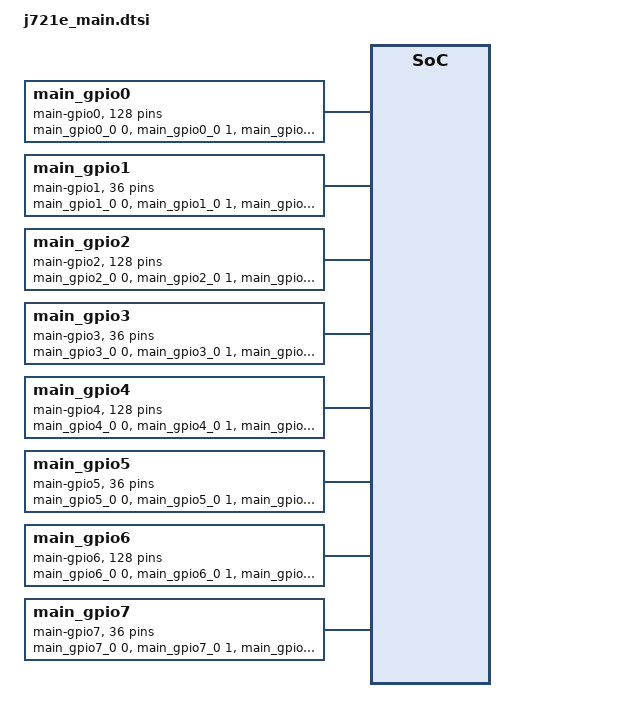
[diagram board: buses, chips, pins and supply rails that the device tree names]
/* Copyright (C) 2026 BeagleBoard.org Foundation
 *
 * SPDX-License-Identifier: Apache-2.0
 */

/ {
	main_gpio0: main-gpio0 {
		#gpio-cells = <2>;
		gpio-map = <0 0 &main_gpio0_0 0 0>, <1 0 &main_gpio0_0 1 0>,
			   <2 0 &main_gpio0_0 2 0>, <3 0 &main_gpio0_0 3 0>,
			   <4 0 &main_gpio0_0 4 0>, <5 0 &main_gpio0_0 5 0>,
			   <6 0 &main_gpio0_0 6 0>, <7 0 &main_gpio0_0 7 0>,
			   <8 0 &main_gpio0_0 8 0>, <9 0 &main_gpio0_0 9 0>,
			   <10 0 &main_gpio0_0 10 0>, <11 0 &main_gpio0_0 11 0>,
			   <12 0 &main_gpio0_0 12 0>, <13 0 &main_gpio0_0 13 0>,
			   <14 0 &main_gpio0_0 14 0>, <15 0 &main_gpio0_0 15 0>,
			   <16 0 &main_gpio0_0 16 0>, <17 0 &main_gpio0_0 17 0>,
			   <18 0 &main_gpio0_0 18 0>, <19 0 &main_gpio0_0 19 0>,
			   <20 0 &main_gpio0_0 20 0>, <21 0 &main_gpio0_0 21 0>,
			   <22 0 &main_gpio0_0 22 0>, <23 0 &main_gpio0_0 23 0>,
			   <24 0 &main_gpio0_0 24 0>, <25 0 &main_gpio0_0 25 0>,
			   <26 0 &main_gpio0_0 26 0>, <27 0 &main_gpio0_0 27 0>,
			   <28 0 &main_gpio0_0 28 0>, <29 0 &main_gpio0_0 29 0>,
			   <30 0 &main_gpio0_0 30 0>, <31 0 &main_gpio0_0 31 0>,
			   <32 0 &main_gpio0_1 0 0>, <33 0 &main_gpio0_1 1 0>,
			   <34 0 &main_gpio0_1 2 0>, <35 0 &main_gpio0_1 3 0>,
			   <36 0 &main_gpio0_1 4 0>, <37 0 &main_gpio0_1 5 0>,
			   <38 0 &main_gpio0_1 6 0>, <39 0 &main_gpio0_1 7 0>,
			   <40 0 &main_gpio0_1 8 0>, <41 0 &main_gpio0_1 9 0>,
			   <42 0 &main_gpio0_1 10 0>, <43 0 &main_gpio0_1 11 0>,
			   <44 0 &main_gpio0_1 12 0>, <45 0 &main_gpio0_1 13 0>,
			   <46 0 &main_gpio0_1 14 0>, <47 0 &main_gpio0_1 15 0>,
			   <48 0 &main_gpio0_1 16 0>, <49 0 &main_gpio0_1 17 0>,
			   <50 0 &main_gpio0_1 18 0>, <51 0 &main_gpio0_1 19 0>,
			   <52 0 &main_gpio0_1 20 0>, <53 0 &main_gpio0_1 21 0>,
			   <54 0 &main_gpio0_1 22 0>, <55 0 &main_gpio0_1 23 0>,
			   <56 0 &main_gpio0_1 24 0>, <57 0 &main_gpio0_1 25 0>,
			   <58 0 &main_gpio0_1 26 0>, <59 0 &main_gpio0_1 27 0>,
			   <60 0 &main_gpio0_1 28 0>, <61 0 &main_gpio0_1 29 0>,
			   <62 0 &main_gpio0_1 30 0>, <63 0 &main_gpio0_1 31 0>,
			   <64 0 &main_gpio0_2 0 0>, <65 0 &main_gpio0_2 1 0>,
			   <66 0 &main_gpio0_2 2 0>, <67 0 &main_gpio0_2 3 0>,
			   <68 0 &main_gpio0_2 4 0>, <69 0 &main_gpio0_2 5 0>,
			   <70 0 &main_gpio0_2 6 0>, <71 0 &main_gpio0_2 7 0>,
			   <72 0 &main_gpio0_2 8 0>, <73 0 &main_gpio0_2 9 0>,
			   <74 0 &main_gpio0_2 10 0>, <75 0 &main_gpio0_2 11 0>,
			   <76 0 &main_gpio0_2 12 0>, <77 0 &main_gpio0_2 13 0>,
			   <78 0 &main_gpio0_2 14 0>, <79 0 &main_gpio0_2 15 0>,
			   <80 0 &main_gpio0_2 16 0>, <81 0 &main_gpio0_2 17 0>,
			   <82 0 &main_gpio0_2 18 0>, <83 0 &main_gpio0_2 17 0>,
			   <84 0 &main_gpio0_2 20 0>, <85 0 &main_gpio0_2 21 0>,
			   <86 0 &main_gpio0_2 22 0>, <87 0 &main_gpio0_2 23 0>,
			   <88 0 &main_gpio0_2 24 0>, <89 0 &main_gpio0_2 25 0>,
			   <90 0 &main_gpio0_2 26 0>, <91 0 &main_gpio0_2 27 0>,
			   <90 0 &main_gpio0_2 28 0>, <91 0 &main_gpio0_2 29 0>,
			   <90 0 &main_gpio0_2 30 0>, <91 0 &main_gpio0_2 31 0>,
			   <64 0 &main_gpio0_3 0 0>, <65 0 &main_gpio0_3 1 0>,
			   <66 0 &main_gpio0_3 2 0>, <67 0 &main_gpio0_3 3 0>,
			   <68 0 &main_gpio0_3 4 0>, <69 0 &main_gpio0_3 5 0>,
			   <70 0 &main_gpio0_3 6 0>, <71 0 &main_gpio0_3 7 0>,
			   <72 0 &main_gpio0_3 8 0>, <73 0 &main_gpio0_3 9 0>,
			   <74 0 &main_gpio0_3 10 0>, <75 0 &main_gpio0_3 11 0>,
			   <76 0 &main_gpio0_3 12 0>, <77 0 &main_gpio0_3 13 0>,
			   <78 0 &main_gpio0_3 14 0>, <79 0 &main_gpio0_3 15 0>,
			   <80 0 &main_gpio0_3 16 0>, <81 0 &main_gpio0_3 17 0>,
			   <82 0 &main_gpio0_3 18 0>, <83 0 &main_gpio0_3 17 0>,
			   <84 0 &main_gpio0_3 20 0>, <85 0 &main_gpio0_3 21 0>,
			   <86 0 &main_gpio0_3 22 0>, <87 0 &main_gpio0_3 23 0>,
			   <88 0 &main_gpio0_3 24 0>, <89 0 &main_gpio0_3 25 0>,
			   <90 0 &main_gpio0_3 26 0>, <91 0 &main_gpio0_3 27 0>,
			   <90 0 &main_gpio0_3 28 0>, <91 0 &main_gpio0_3 29 0>,
			   <90 0 &main_gpio0_3 30 0>, <91 0 &main_gpio0_3 31 0>;
		gpio-map-mask = <0xffff 0x0>;
		gpio-map-pass-thru = <0x0 0x1>;
	};

	main_gpio0_0: gpio@600010 {
		compatible = "ti,davinci-gpio";
		reg = <0x00600010 0x28>;
		gpio-controller;
		#gpio-cells = <2>;
		ngpios = <32>;
		status = "disabled";
	};

	main_gpio0_1: gpio@600038 {
		compatible = "ti,davinci-gpio";
		reg = <0x00600038 0x28>;
		gpio-controller;
		#gpio-cells = <2>;
		ngpios = <32>;
		status = "disabled";
	};

	main_gpio0_2: gpio@600060 {
		compatible = "ti,davinci-gpio";
		reg = <0x00600060 0x28>;
		gpio-controller;
		#gpio-cells = <2>;
		ngpios = <32>;
		status = "disabled";
	};

	main_gpio0_3: gpio@600088 {
		compatible = "ti,davinci-gpio";
		reg = <0x00600088 0x28>;
		gpio-controller;
		#gpio-cells = <2>;
		ngpios = <32>;
		status = "disabled";
	};

	main_gpio1: main-gpio1 {
		#gpio-cells = <2>;
		gpio-map = <0 0 &main_gpio1_0 0 0>, <1 0 &main_gpio1_0 1 0>,
			   <2 0 &main_gpio1_0 2 0>, <3 0 &main_gpio1_0 3 0>,
			   <4 0 &main_gpio1_0 4 0>, <5 0 &main_gpio1_0 5 0>,
			   <6 0 &main_gpio1_0 6 0>, <7 0 &main_gpio1_0 7 0>,
			   <8 0 &main_gpio1_0 8 0>, <9 0 &main_gpio1_0 9 0>,
			   <10 0 &main_gpio1_0 10 0>, <11 0 &main_gpio1_0 11 0>,
			   <12 0 &main_gpio1_0 12 0>, <13 0 &main_gpio1_0 13 0>,
			   <14 0 &main_gpio1_0 14 0>, <15 0 &main_gpio1_0 15 0>,
			   <16 0 &main_gpio1_0 16 0>, <17 0 &main_gpio1_0 17 0>,
			   <18 0 &main_gpio1_0 18 0>, <19 0 &main_gpio1_0 19 0>,
			   <20 0 &main_gpio1_0 20 0>, <21 0 &main_gpio1_0 21 0>,
			   <22 0 &main_gpio1_0 22 0>, <23 0 &main_gpio1_0 23 0>,
			   <24 0 &main_gpio1_0 24 0>, <25 0 &main_gpio1_0 25 0>,
			   <26 0 &main_gpio1_0 26 0>, <27 0 &main_gpio1_0 27 0>,
			   <28 0 &main_gpio1_0 28 0>, <29 0 &main_gpio1_0 29 0>,
			   <30 0 &main_gpio1_0 30 0>, <31 0 &main_gpio1_0 31 0>,
			   <32 0 &main_gpio1_1 0 0>, <33 0 &main_gpio1_1 1 0>,
			   <34 0 &main_gpio1_1 2 0>, <35 0 &main_gpio1_1 3 0>;
		gpio-map-mask = <0xffff 0x0>;
		gpio-map-pass-thru = <0x0 0x1>;
	};

	main_gpio1_0: gpio@601010 {
		compatible = "ti,davinci-gpio";
		reg = <0x00601010 0x28>;
		gpio-controller;
		#gpio-cells = <2>;
		ngpios = <32>;
		status = "disabled";
	};

	main_gpio1_1: gpio@601038 {
		compatible = "ti,davinci-gpio";
		reg = <0x00601038 0x28>;
		gpio-controller;
		#gpio-cells = <2>;
		ngpios = <4>;
		status = "disabled";
	};

	main_gpio2: main-gpio2 {
		#gpio-cells = <2>;
		gpio-map = <0 0 &main_gpio2_0 0 0>, <1 0 &main_gpio2_0 1 0>,
			   <2 0 &main_gpio2_0 2 0>, <3 0 &main_gpio2_0 3 0>,
			   <4 0 &main_gpio2_0 4 0>, <5 0 &main_gpio2_0 5 0>,
			   <6 0 &main_gpio2_0 6 0>, <7 0 &main_gpio2_0 7 0>,
			   <8 0 &main_gpio2_0 8 0>, <9 0 &main_gpio2_0 9 0>,
			   <10 0 &main_gpio2_0 10 0>, <11 0 &main_gpio2_0 11 0>,
			   <12 0 &main_gpio2_0 12 0>, <13 0 &main_gpio2_0 13 0>,
			   <14 0 &main_gpio2_0 14 0>, <15 0 &main_gpio2_0 15 0>,
			   <16 0 &main_gpio2_0 16 0>, <17 0 &main_gpio2_0 17 0>,
			   <18 0 &main_gpio2_0 18 0>, <19 0 &main_gpio2_0 19 0>,
			   <20 0 &main_gpio2_0 20 0>, <21 0 &main_gpio2_0 21 0>,
			   <22 0 &main_gpio2_0 22 0>, <23 0 &main_gpio2_0 23 0>,
			   <24 0 &main_gpio2_0 24 0>, <25 0 &main_gpio2_0 25 0>,
			   <26 0 &main_gpio2_0 26 0>, <27 0 &main_gpio2_0 27 0>,
			   <28 0 &main_gpio2_0 28 0>, <29 0 &main_gpio2_0 29 0>,
			   <30 0 &main_gpio2_0 30 0>, <31 0 &main_gpio2_0 31 0>,
			   <32 0 &main_gpio2_1 0 0>, <33 0 &main_gpio2_1 1 0>,
			   <34 0 &main_gpio2_1 2 0>, <35 0 &main_gpio2_1 3 0>,
			   <36 0 &main_gpio2_1 4 0>, <37 0 &main_gpio2_1 5 0>,
			   <38 0 &main_gpio2_1 6 0>, <39 0 &main_gpio2_1 7 0>,
			   <40 0 &main_gpio2_1 8 0>, <41 0 &main_gpio2_1 9 0>,
			   <42 0 &main_gpio2_1 10 0>, <43 0 &main_gpio2_1 11 0>,
			   <44 0 &main_gpio2_1 12 0>, <45 0 &main_gpio2_1 13 0>,
			   <46 0 &main_gpio2_1 14 0>, <47 0 &main_gpio2_1 15 0>,
			   <48 0 &main_gpio2_1 16 0>, <49 0 &main_gpio2_1 17 0>,
			   <50 0 &main_gpio2_1 18 0>, <51 0 &main_gpio2_1 19 0>,
			   <52 0 &main_gpio2_1 20 0>, <53 0 &main_gpio2_1 21 0>,
			   <54 0 &main_gpio2_1 22 0>, <55 0 &main_gpio2_1 23 0>,
			   <56 0 &main_gpio2_1 24 0>, <57 0 &main_gpio2_1 25 0>,
			   <58 0 &main_gpio2_1 26 0>, <59 0 &main_gpio2_1 27 0>,
			   <60 0 &main_gpio2_1 28 0>, <61 0 &main_gpio2_1 29 0>,
			   <62 0 &main_gpio2_1 30 0>, <63 0 &main_gpio2_1 31 0>,
			   <64 0 &main_gpio2_2 0 0>, <65 0 &main_gpio2_2 1 0>,
			   <66 0 &main_gpio2_2 2 0>, <67 0 &main_gpio2_2 3 0>,
			   <68 0 &main_gpio2_2 4 0>, <69 0 &main_gpio2_2 5 0>,
			   <70 0 &main_gpio2_2 6 0>, <71 0 &main_gpio2_2 7 0>,
			   <72 0 &main_gpio2_2 8 0>, <73 0 &main_gpio2_2 9 0>,
			   <74 0 &main_gpio2_2 10 0>, <75 0 &main_gpio2_2 11 0>,
			   <76 0 &main_gpio2_2 12 0>, <77 0 &main_gpio2_2 13 0>,
			   <78 0 &main_gpio2_2 14 0>, <79 0 &main_gpio2_2 15 0>,
			   <80 0 &main_gpio2_2 16 0>, <81 0 &main_gpio2_2 17 0>,
			   <82 0 &main_gpio2_2 18 0>, <83 0 &main_gpio2_2 17 0>,
			   <84 0 &main_gpio2_2 20 0>, <85 0 &main_gpio2_2 21 0>,
			   <86 0 &main_gpio2_2 22 0>, <87 0 &main_gpio2_2 23 0>,
			   <88 0 &main_gpio2_2 24 0>, <89 0 &main_gpio2_2 25 0>,
			   <90 0 &main_gpio2_2 26 0>, <91 0 &main_gpio2_2 27 0>,
			   <90 0 &main_gpio2_2 28 0>, <91 0 &main_gpio2_2 29 0>,
			   <90 0 &main_gpio2_2 30 0>, <91 0 &main_gpio2_2 31 0>,
			   <64 0 &main_gpio2_3 0 0>, <65 0 &main_gpio2_3 1 0>,
			   <66 0 &main_gpio2_3 2 0>, <67 0 &main_gpio2_3 3 0>,
			   <68 0 &main_gpio2_3 4 0>, <69 0 &main_gpio2_3 5 0>,
			   <70 0 &main_gpio2_3 6 0>, <71 0 &main_gpio2_3 7 0>,
			   <72 0 &main_gpio2_3 8 0>, <73 0 &main_gpio2_3 9 0>,
			   <74 0 &main_gpio2_3 10 0>, <75 0 &main_gpio2_3 11 0>,
			   <76 0 &main_gpio2_3 12 0>, <77 0 &main_gpio2_3 13 0>,
			   <78 0 &main_gpio2_3 14 0>, <79 0 &main_gpio2_3 15 0>,
			   <80 0 &main_gpio2_3 16 0>, <81 0 &main_gpio2_3 17 0>,
			   <82 0 &main_gpio2_3 18 0>, <83 0 &main_gpio2_3 17 0>,
			   <84 0 &main_gpio2_3 20 0>, <85 0 &main_gpio2_3 21 0>,
			   <86 0 &main_gpio2_3 22 0>, <87 0 &main_gpio2_3 23 0>,
			   <88 0 &main_gpio2_3 24 0>, <89 0 &main_gpio2_3 25 0>,
			   <90 0 &main_gpio2_3 26 0>, <91 0 &main_gpio2_3 27 0>,
			   <90 0 &main_gpio2_3 28 0>, <91 0 &main_gpio2_3 29 0>,
			   <90 0 &main_gpio2_3 30 0>, <91 0 &main_gpio2_3 31 0>;
		gpio-map-mask = <0xffff 0x0>;
		gpio-map-pass-thru = <0x0 0x1>;
	};

	main_gpio2_0: gpio@610010 {
		compatible = "ti,davinci-gpio";
		reg = <0x00610010 0x28>;
		gpio-controller;
		#gpio-cells = <2>;
		ngpios = <32>;
		status = "disabled";
	};

	main_gpio2_1: gpio@610038 {
		compatible = "ti,davinci-gpio";
		reg = <0x00610038 0x28>;
		gpio-controller;
		#gpio-cells = <2>;
		ngpios = <32>;
		status = "disabled";
	};

	main_gpio2_2: gpio@610060 {
		compatible = "ti,davinci-gpio";
		reg = <0x00610060 0x28>;
		gpio-controller;
		#gpio-cells = <2>;
		ngpios = <32>;
		status = "disabled";
	};

	main_gpio2_3: gpio@610088 {
		compatible = "ti,davinci-gpio";
		reg = <0x00610088 0x28>;
		gpio-controller;
		#gpio-cells = <2>;
		ngpios = <32>;
		status = "disabled";
	};

	main_gpio3: main-gpio3 {
		#gpio-cells = <2>;
		gpio-map = <0 0 &main_gpio3_0 0 0>, <1 0 &main_gpio3_0 1 0>,
			   <2 0 &main_gpio3_0 2 0>, <3 0 &main_gpio3_0 3 0>,
			   <4 0 &main_gpio3_0 4 0>, <5 0 &main_gpio3_0 5 0>,
			   <6 0 &main_gpio3_0 6 0>, <7 0 &main_gpio3_0 7 0>,
			   <8 0 &main_gpio3_0 8 0>, <9 0 &main_gpio3_0 9 0>,
			   <10 0 &main_gpio3_0 10 0>, <11 0 &main_gpio3_0 11 0>,
			   <12 0 &main_gpio3_0 12 0>, <13 0 &main_gpio3_0 13 0>,
			   <14 0 &main_gpio3_0 14 0>, <15 0 &main_gpio3_0 15 0>,
			   <16 0 &main_gpio3_0 16 0>, <17 0 &main_gpio3_0 17 0>,
			   <18 0 &main_gpio3_0 18 0>, <19 0 &main_gpio3_0 19 0>,
			   <20 0 &main_gpio3_0 20 0>, <21 0 &main_gpio3_0 21 0>,
			   <22 0 &main_gpio3_0 22 0>, <23 0 &main_gpio3_0 23 0>,
			   <24 0 &main_gpio3_0 24 0>, <25 0 &main_gpio3_0 25 0>,
			   <26 0 &main_gpio3_0 26 0>, <27 0 &main_gpio3_0 27 0>,
			   <28 0 &main_gpio3_0 28 0>, <29 0 &main_gpio3_0 29 0>,
			   <30 0 &main_gpio3_0 30 0>, <31 0 &main_gpio3_0 31 0>,
			   <32 0 &main_gpio3_1 0 0>, <33 0 &main_gpio3_1 1 0>,
			   <34 0 &main_gpio3_1 2 0>, <35 0 &main_gpio3_1 3 0>;
		gpio-map-mask = <0xffff 0x0>;
		gpio-map-pass-thru = <0x0 0x1>;
	};

	main_gpio3_0: gpio@611010 {
		compatible = "ti,davinci-gpio";
		reg = <0x00611010 0x28>;
		gpio-controller;
		#gpio-cells = <2>;
		ngpios = <32>;
		status = "disabled";
	};

	main_gpio3_1: gpio@611038 {
		compatible = "ti,davinci-gpio";
		reg = <0x00611038 0x28>;
		gpio-controller;
		#gpio-cells = <2>;
		ngpios = <4>;
		status = "disabled";
	};

	main_gpio4: main-gpio4 {
		#gpio-cells = <2>;
		gpio-map = <0 0 &main_gpio4_0 0 0>, <1 0 &main_gpio4_0 1 0>,
			   <2 0 &main_gpio4_0 2 0>, <3 0 &main_gpio4_0 3 0>,
			   <4 0 &main_gpio4_0 4 0>, <5 0 &main_gpio4_0 5 0>,
			   <6 0 &main_gpio4_0 6 0>, <7 0 &main_gpio4_0 7 0>,
			   <8 0 &main_gpio4_0 8 0>, <9 0 &main_gpio4_0 9 0>,
			   <10 0 &main_gpio4_0 10 0>, <11 0 &main_gpio4_0 11 0>,
			   <12 0 &main_gpio4_0 12 0>, <13 0 &main_gpio4_0 13 0>,
			   <14 0 &main_gpio4_0 14 0>, <15 0 &main_gpio4_0 15 0>,
			   <16 0 &main_gpio4_0 16 0>, <17 0 &main_gpio4_0 17 0>,
			   <18 0 &main_gpio4_0 18 0>, <19 0 &main_gpio4_0 19 0>,
			   <20 0 &main_gpio4_0 20 0>, <21 0 &main_gpio4_0 21 0>,
			   <22 0 &main_gpio4_0 22 0>, <23 0 &main_gpio4_0 23 0>,
			   <24 0 &main_gpio4_0 24 0>, <25 0 &main_gpio4_0 25 0>,
			   <26 0 &main_gpio4_0 26 0>, <27 0 &main_gpio4_0 27 0>,
			   <28 0 &main_gpio4_0 28 0>, <29 0 &main_gpio4_0 29 0>,
			   <30 0 &main_gpio4_0 30 0>, <31 0 &main_gpio4_0 31 0>,
			   <32 0 &main_gpio4_1 0 0>, <33 0 &main_gpio4_1 1 0>,
			   <34 0 &main_gpio4_1 2 0>, <35 0 &main_gpio4_1 3 0>,
			   <36 0 &main_gpio4_1 4 0>, <37 0 &main_gpio4_1 5 0>,
			   <38 0 &main_gpio4_1 6 0>, <39 0 &main_gpio4_1 7 0>,
			   <40 0 &main_gpio4_1 8 0>, <41 0 &main_gpio4_1 9 0>,
			   <42 0 &main_gpio4_1 10 0>, <43 0 &main_gpio4_1 11 0>,
			   <44 0 &main_gpio4_1 12 0>, <45 0 &main_gpio4_1 13 0>,
			   <46 0 &main_gpio4_1 14 0>, <47 0 &main_gpio4_1 15 0>,
			   <48 0 &main_gpio4_1 16 0>, <49 0 &main_gpio4_1 17 0>,
			   <50 0 &main_gpio4_1 18 0>, <51 0 &main_gpio4_1 19 0>,
			   <52 0 &main_gpio4_1 20 0>, <53 0 &main_gpio4_1 21 0>,
			   <54 0 &main_gpio4_1 22 0>, <55 0 &main_gpio4_1 23 0>,
			   <56 0 &main_gpio4_1 24 0>, <57 0 &main_gpio4_1 25 0>,
			   <58 0 &main_gpio4_1 26 0>, <59 0 &main_gpio4_1 27 0>,
			   <60 0 &main_gpio4_1 28 0>, <61 0 &main_gpio4_1 29 0>,
			   <62 0 &main_gpio4_1 30 0>, <63 0 &main_gpio4_1 31 0>,
			   <64 0 &main_gpio4_2 0 0>, <65 0 &main_gpio4_2 1 0>,
			   <66 0 &main_gpio4_2 2 0>, <67 0 &main_gpio4_2 3 0>,
			   <68 0 &main_gpio4_2 4 0>, <69 0 &main_gpio4_2 5 0>,
			   <70 0 &main_gpio4_2 6 0>, <71 0 &main_gpio4_2 7 0>,
			   <72 0 &main_gpio4_2 8 0>, <73 0 &main_gpio4_2 9 0>,
			   <74 0 &main_gpio4_2 10 0>, <75 0 &main_gpio4_2 11 0>,
			   <76 0 &main_gpio4_2 12 0>, <77 0 &main_gpio4_2 13 0>,
			   <78 0 &main_gpio4_2 14 0>, <79 0 &main_gpio4_2 15 0>,
			   <80 0 &main_gpio4_2 16 0>, <81 0 &main_gpio4_2 17 0>,
			   <82 0 &main_gpio4_2 18 0>, <83 0 &main_gpio4_2 17 0>,
			   <84 0 &main_gpio4_2 20 0>, <85 0 &main_gpio4_2 21 0>,
			   <86 0 &main_gpio4_2 22 0>, <87 0 &main_gpio4_2 23 0>,
			   <88 0 &main_gpio4_2 24 0>, <89 0 &main_gpio4_2 25 0>,
			   <90 0 &main_gpio4_2 26 0>, <91 0 &main_gpio4_2 27 0>,
			   <90 0 &main_gpio4_2 28 0>, <91 0 &main_gpio4_2 29 0>,
			   <90 0 &main_gpio4_2 30 0>, <91 0 &main_gpio4_2 31 0>,
			   <64 0 &main_gpio4_3 0 0>, <65 0 &main_gpio4_3 1 0>,
			   <66 0 &main_gpio4_3 2 0>, <67 0 &main_gpio4_3 3 0>,
			   <68 0 &main_gpio4_3 4 0>, <69 0 &main_gpio4_3 5 0>,
			   <70 0 &main_gpio4_3 6 0>, <71 0 &main_gpio4_3 7 0>,
			   <72 0 &main_gpio4_3 8 0>, <73 0 &main_gpio4_3 9 0>,
			   <74 0 &main_gpio4_3 10 0>, <75 0 &main_gpio4_3 11 0>,
			   <76 0 &main_gpio4_3 12 0>, <77 0 &main_gpio4_3 13 0>,
			   <78 0 &main_gpio4_3 14 0>, <79 0 &main_gpio4_3 15 0>,
			   <80 0 &main_gpio4_3 16 0>, <81 0 &main_gpio4_3 17 0>,
			   <82 0 &main_gpio4_3 18 0>, <83 0 &main_gpio4_3 17 0>,
			   <84 0 &main_gpio4_3 20 0>, <85 0 &main_gpio4_3 21 0>,
			   <86 0 &main_gpio4_3 22 0>, <87 0 &main_gpio4_3 23 0>,
			   <88 0 &main_gpio4_3 24 0>, <89 0 &main_gpio4_3 25 0>,
			   <90 0 &main_gpio4_3 26 0>, <91 0 &main_gpio4_3 27 0>,
			   <90 0 &main_gpio4_3 28 0>, <91 0 &main_gpio4_3 29 0>,
			   <90 0 &main_gpio4_3 30 0>, <91 0 &main_gpio4_3 31 0>;
		gpio-map-mask = <0xffff 0x0>;
		gpio-map-pass-thru = <0x0 0x1>;
	};

	main_gpio4_0: gpio@620010 {
		compatible = "ti,davinci-gpio";
		reg = <0x00620010 0x28>;
		gpio-controller;
		#gpio-cells = <2>;
		ngpios = <32>;
		status = "disabled";
	};

	main_gpio4_1: gpio@620038 {
		compatible = "ti,davinci-gpio";
		reg = <0x00620038 0x28>;
		gpio-controller;
		#gpio-cells = <2>;
		ngpios = <32>;
		status = "disabled";
	};

	main_gpio4_2: gpio@620060 {
		compatible = "ti,davinci-gpio";
		reg = <0x00620060 0x28>;
		gpio-controller;
		#gpio-cells = <2>;
		ngpios = <32>;
		status = "disabled";
	};

	main_gpio4_3: gpio@620088 {
		compatible = "ti,davinci-gpio";
		reg = <0x00620088 0x28>;
		gpio-controller;
		#gpio-cells = <2>;
		ngpios = <32>;
		status = "disabled";
	};

	main_gpio5: main-gpio5 {
		#gpio-cells = <2>;
		gpio-map = <0 0 &main_gpio5_0 0 0>, <1 0 &main_gpio5_0 1 0>,
			   <2 0 &main_gpio5_0 2 0>, <3 0 &main_gpio5_0 3 0>,
			   <4 0 &main_gpio5_0 4 0>, <5 0 &main_gpio5_0 5 0>,
			   <6 0 &main_gpio5_0 6 0>, <7 0 &main_gpio5_0 7 0>,
			   <8 0 &main_gpio5_0 8 0>, <9 0 &main_gpio5_0 9 0>,
			   <10 0 &main_gpio5_0 10 0>, <11 0 &main_gpio5_0 11 0>,
			   <12 0 &main_gpio5_0 12 0>, <13 0 &main_gpio5_0 13 0>,
			   <14 0 &main_gpio5_0 14 0>, <15 0 &main_gpio5_0 15 0>,
			   <16 0 &main_gpio5_0 16 0>, <17 0 &main_gpio5_0 17 0>,
			   <18 0 &main_gpio5_0 18 0>, <19 0 &main_gpio5_0 19 0>,
			   <20 0 &main_gpio5_0 20 0>, <21 0 &main_gpio5_0 21 0>,
			   <22 0 &main_gpio5_0 22 0>, <23 0 &main_gpio5_0 23 0>,
			   <24 0 &main_gpio5_0 24 0>, <25 0 &main_gpio5_0 25 0>,
			   <26 0 &main_gpio5_0 26 0>, <27 0 &main_gpio5_0 27 0>,
			   <28 0 &main_gpio5_0 28 0>, <29 0 &main_gpio5_0 29 0>,
			   <30 0 &main_gpio5_0 30 0>, <31 0 &main_gpio5_0 31 0>,
			   <32 0 &main_gpio5_1 0 0>, <33 0 &main_gpio5_1 1 0>,
			   <34 0 &main_gpio5_1 2 0>, <35 0 &main_gpio5_1 3 0>;
		gpio-map-mask = <0xffff 0x0>;
		gpio-map-pass-thru = <0x0 0x1>;
	};

	main_gpio5_0: gpio@621010 {
		compatible = "ti,davinci-gpio";
		reg = <0x00621010 0x28>;
		gpio-controller;
		#gpio-cells = <2>;
		ngpios = <32>;
		status = "disabled";
	};

	main_gpio5_1: gpio@621038 {
		compatible = "ti,davinci-gpio";
		reg = <0x00621038 0x28>;
		gpio-controller;
		#gpio-cells = <2>;
		ngpios = <4>;
		status = "disabled";
	};

	main_gpio6: main-gpio6 {
		#gpio-cells = <2>;
		gpio-map = <0 0 &main_gpio6_0 0 0>, <1 0 &main_gpio6_0 1 0>,
			   <2 0 &main_gpio6_0 2 0>, <3 0 &main_gpio6_0 3 0>,
			   <4 0 &main_gpio6_0 4 0>, <5 0 &main_gpio6_0 5 0>,
			   <6 0 &main_gpio6_0 6 0>, <7 0 &main_gpio6_0 7 0>,
			   <8 0 &main_gpio6_0 8 0>, <9 0 &main_gpio6_0 9 0>,
			   <10 0 &main_gpio6_0 10 0>, <11 0 &main_gpio6_0 11 0>,
			   <12 0 &main_gpio6_0 12 0>, <13 0 &main_gpio6_0 13 0>,
			   <14 0 &main_gpio6_0 14 0>, <15 0 &main_gpio6_0 15 0>,
			   <16 0 &main_gpio6_0 16 0>, <17 0 &main_gpio6_0 17 0>,
			   <18 0 &main_gpio6_0 18 0>, <19 0 &main_gpio6_0 19 0>,
			   <20 0 &main_gpio6_0 20 0>, <21 0 &main_gpio6_0 21 0>,
			   <22 0 &main_gpio6_0 22 0>, <23 0 &main_gpio6_0 23 0>,
			   <24 0 &main_gpio6_0 24 0>, <25 0 &main_gpio6_0 25 0>,
			   <26 0 &main_gpio6_0 26 0>, <27 0 &main_gpio6_0 27 0>,
			   <28 0 &main_gpio6_0 28 0>, <29 0 &main_gpio6_0 29 0>,
			   <30 0 &main_gpio6_0 30 0>, <31 0 &main_gpio6_0 31 0>,
			   <32 0 &main_gpio6_1 0 0>, <33 0 &main_gpio6_1 1 0>,
			   <34 0 &main_gpio6_1 2 0>, <35 0 &main_gpio6_1 3 0>,
			   <36 0 &main_gpio6_1 4 0>, <37 0 &main_gpio6_1 5 0>,
			   <38 0 &main_gpio6_1 6 0>, <39 0 &main_gpio6_1 7 0>,
			   <40 0 &main_gpio6_1 8 0>, <41 0 &main_gpio6_1 9 0>,
			   <42 0 &main_gpio6_1 10 0>, <43 0 &main_gpio6_1 11 0>,
			   <44 0 &main_gpio6_1 12 0>, <45 0 &main_gpio6_1 13 0>,
			   <46 0 &main_gpio6_1 14 0>, <47 0 &main_gpio6_1 15 0>,
			   <48 0 &main_gpio6_1 16 0>, <49 0 &main_gpio6_1 17 0>,
			   <50 0 &main_gpio6_1 18 0>, <51 0 &main_gpio6_1 19 0>,
			   <52 0 &main_gpio6_1 20 0>, <53 0 &main_gpio6_1 21 0>,
			   <54 0 &main_gpio6_1 22 0>, <55 0 &main_gpio6_1 23 0>,
			   <56 0 &main_gpio6_1 24 0>, <57 0 &main_gpio6_1 25 0>,
			   <58 0 &main_gpio6_1 26 0>, <59 0 &main_gpio6_1 27 0>,
			   <60 0 &main_gpio6_1 28 0>, <61 0 &main_gpio6_1 29 0>,
			   <62 0 &main_gpio6_1 30 0>, <63 0 &main_gpio6_1 31 0>,
			   <64 0 &main_gpio6_2 0 0>, <65 0 &main_gpio6_2 1 0>,
			   <66 0 &main_gpio6_2 2 0>, <67 0 &main_gpio6_2 3 0>,
			   <68 0 &main_gpio6_2 4 0>, <69 0 &main_gpio6_2 5 0>,
			   <70 0 &main_gpio6_2 6 0>, <71 0 &main_gpio6_2 7 0>,
			   <72 0 &main_gpio6_2 8 0>, <73 0 &main_gpio6_2 9 0>,
			   <74 0 &main_gpio6_2 10 0>, <75 0 &main_gpio6_2 11 0>,
			   <76 0 &main_gpio6_2 12 0>, <77 0 &main_gpio6_2 13 0>,
			   <78 0 &main_gpio6_2 14 0>, <79 0 &main_gpio6_2 15 0>,
			   <80 0 &main_gpio6_2 16 0>, <81 0 &main_gpio6_2 17 0>,
			   <82 0 &main_gpio6_2 18 0>, <83 0 &main_gpio6_2 17 0>,
			   <84 0 &main_gpio6_2 20 0>, <85 0 &main_gpio6_2 21 0>,
			   <86 0 &main_gpio6_2 22 0>, <87 0 &main_gpio6_2 23 0>,
			   <88 0 &main_gpio6_2 24 0>, <89 0 &main_gpio6_2 25 0>,
			   <90 0 &main_gpio6_2 26 0>, <91 0 &main_gpio6_2 27 0>,
			   <90 0 &main_gpio6_2 28 0>, <91 0 &main_gpio6_2 29 0>,
			   <90 0 &main_gpio6_2 30 0>, <91 0 &main_gpio6_2 31 0>,
			   <64 0 &main_gpio6_3 0 0>, <65 0 &main_gpio6_3 1 0>,
			   <66 0 &main_gpio6_3 2 0>, <67 0 &main_gpio6_3 3 0>,
			   <68 0 &main_gpio6_3 4 0>, <69 0 &main_gpio6_3 5 0>,
			   <70 0 &main_gpio6_3 6 0>, <71 0 &main_gpio6_3 7 0>,
			   <72 0 &main_gpio6_3 8 0>, <73 0 &main_gpio6_3 9 0>,
			   <74 0 &main_gpio6_3 10 0>, <75 0 &main_gpio6_3 11 0>,
			   <76 0 &main_gpio6_3 12 0>, <77 0 &main_gpio6_3 13 0>,
			   <78 0 &main_gpio6_3 14 0>, <79 0 &main_gpio6_3 15 0>,
			   <80 0 &main_gpio6_3 16 0>, <81 0 &main_gpio6_3 17 0>,
			   <82 0 &main_gpio6_3 18 0>, <83 0 &main_gpio6_3 17 0>,
			   <84 0 &main_gpio6_3 20 0>, <85 0 &main_gpio6_3 21 0>,
			   <86 0 &main_gpio6_3 22 0>, <87 0 &main_gpio6_3 23 0>,
			   <88 0 &main_gpio6_3 24 0>, <89 0 &main_gpio6_3 25 0>,
			   <90 0 &main_gpio6_3 26 0>, <91 0 &main_gpio6_3 27 0>,
			   <90 0 &main_gpio6_3 28 0>, <91 0 &main_gpio6_3 29 0>,
			   <90 0 &main_gpio6_3 30 0>, <91 0 &main_gpio6_3 31 0>;
		gpio-map-mask = <0xffff 0x0>;
		gpio-map-pass-thru = <0x0 0x1>;
	};

	main_gpio6_0: gpio@630010 {
		compatible = "ti,davinci-gpio";
		reg = <0x00630010 0x28>;
		gpio-controller;
		#gpio-cells = <2>;
		ngpios = <32>;
		status = "disabled";
	};

	main_gpio6_1: gpio@630038 {
		compatible = "ti,davinci-gpio";
		reg = <0x00630038 0x28>;
		gpio-controller;
		#gpio-cells = <2>;
		ngpios = <32>;
		status = "disabled";
	};

	main_gpio6_2: gpio@630060 {
		compatible = "ti,davinci-gpio";
		reg = <0x00630060 0x28>;
		gpio-controller;
		#gpio-cells = <2>;
		ngpios = <32>;
		status = "disabled";
	};

	main_gpio6_3: gpio@630088 {
		compatible = "ti,davinci-gpio";
		reg = <0x00630088 0x28>;
		gpio-controller;
		#gpio-cells = <2>;
		ngpios = <32>;
		status = "disabled";
	};

	main_gpio7: main-gpio7 {
		#gpio-cells = <2>;
		gpio-map = <0 0 &main_gpio7_0 0 0>, <1 0 &main_gpio7_0 1 0>,
			   <2 0 &main_gpio7_0 2 0>, <3 0 &main_gpio7_0 3 0>,
			   <4 0 &main_gpio7_0 4 0>, <5 0 &main_gpio7_0 5 0>,
			   <6 0 &main_gpio7_0 6 0>, <7 0 &main_gpio7_0 7 0>,
			   <8 0 &main_gpio7_0 8 0>, <9 0 &main_gpio7_0 9 0>,
			   <10 0 &main_gpio7_0 10 0>, <11 0 &main_gpio7_0 11 0>,
			   <12 0 &main_gpio7_0 12 0>, <13 0 &main_gpio7_0 13 0>,
			   <14 0 &main_gpio7_0 14 0>, <15 0 &main_gpio7_0 15 0>,
			   <16 0 &main_gpio7_0 16 0>, <17 0 &main_gpio7_0 17 0>,
			   <18 0 &main_gpio7_0 18 0>, <19 0 &main_gpio7_0 19 0>,
			   <20 0 &main_gpio7_0 20 0>, <21 0 &main_gpio7_0 21 0>,
			   <22 0 &main_gpio7_0 22 0>, <23 0 &main_gpio7_0 23 0>,
			   <24 0 &main_gpio7_0 24 0>, <25 0 &main_gpio7_0 25 0>,
			   <26 0 &main_gpio7_0 26 0>, <27 0 &main_gpio7_0 27 0>,
			   <28 0 &main_gpio7_0 28 0>, <29 0 &main_gpio7_0 29 0>,
			   <30 0 &main_gpio7_0 30 0>, <31 0 &main_gpio7_0 31 0>,
			   <32 0 &main_gpio7_1 0 0>, <33 0 &main_gpio7_1 1 0>,
			   <34 0 &main_gpio7_1 2 0>, <35 0 &main_gpio7_1 3 0>;
		gpio-map-mask = <0xffff 0x0>;
		gpio-map-pass-thru = <0x0 0x1>;
	};

	main_gpio7_0: gpio@631010 {
		compatible = "ti,davinci-gpio";
		reg = <0x00631010 0x28>;
		gpio-controller;
		#gpio-cells = <2>;
		ngpios = <32>;
		status = "disabled";
	};

	main_gpio7_1: gpio@631038 {
		compatible = "ti,davinci-gpio";
		reg = <0x00631038 0x28>;
		gpio-controller;
		#gpio-cells = <2>;
		ngpios = <4>;
		status = "disabled";
	};
};
